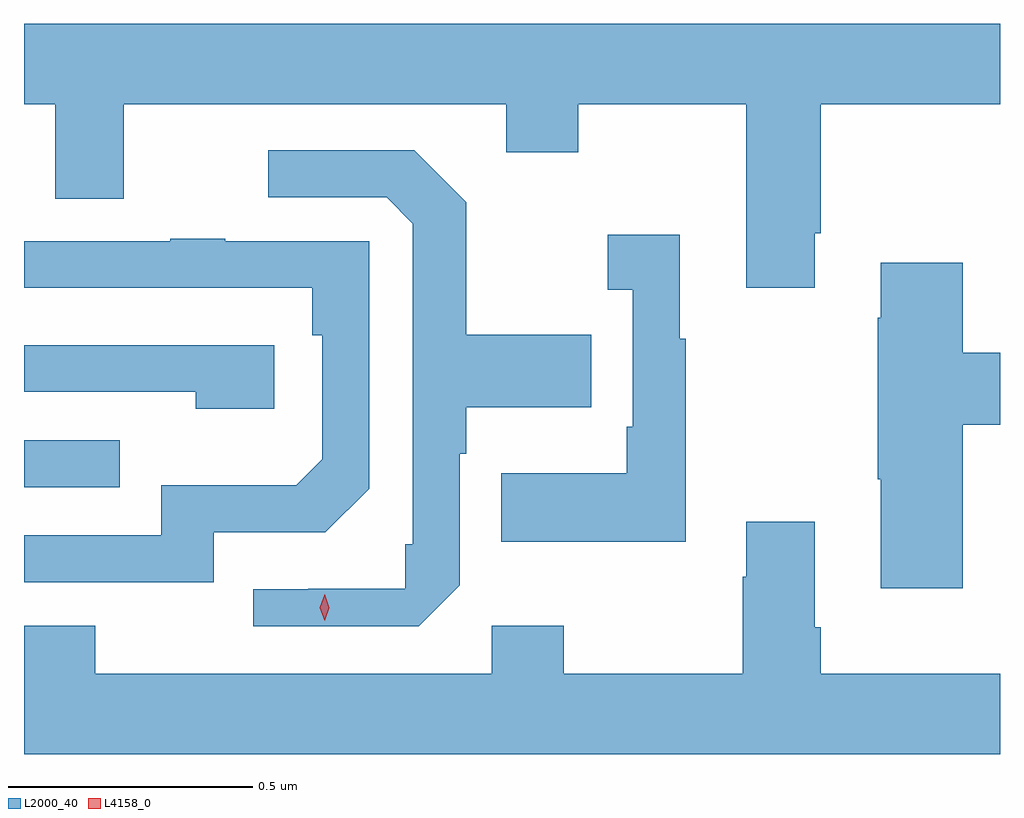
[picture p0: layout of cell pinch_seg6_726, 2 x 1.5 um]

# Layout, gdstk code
import gdstk
lib = gdstk.Library(unit=1e-6, precision=1e-09)
def R(c, l, rs):  # rectangles x0, y0, x1, y1
    for r in rs: c.add(gdstk.rectangle(r[:2], r[2:], *l))
def P(c, l, *ps):  # polygons
    for p in ps: c.add(gdstk.Polygon(p, *l))
L2000_40 = (2000, 40)
L4158_0 = (4158, 0)

pinch_seg6_726 = lib.new_cell('pinch_seg6_726')
R(pinch_seg6_726, L2000_40, [(502.345,939.891,502.541,939.987)])
P(pinch_seg6_726, L2000_40, [(503.965,940.411),(503.978,940.411),(503.978,940.676),(504.345,940.676),(504.345,940.84),(502.345,940.84),(502.345,940.676),(502.409,940.676),(502.409,940.482),(502.549,940.482),(502.549,940.676),(503.333,940.676),(503.333,940.577),(503.481,940.577),(503.481,940.676),(503.825,940.676),(503.825,940.299),(503.965,940.299)],
  [(503.238,939.69),(503.238,939.959),(503.251,939.959),(503.251,940.055),(503.507,940.055),(503.507,940.203),(503.251,940.203),(503.251,940.475),(503.145,940.581),(502.845,940.581),(502.845,940.485),(503.088,940.485),(503.142,940.431),(503.142,939.774),(503.126,939.774),(503.126,939.683),(502.927,939.683),(502.927,939.682),(502.815,939.682),(502.815,939.606),(503.154,939.606)],
  [(503.701,940.195),(503.689,940.195),(503.689,940.408),(503.541,940.408),(503.541,940.295),(503.592,940.295),(503.592,940.015),(503.58,940.015),(503.58,939.919),(503.323,939.919),(503.323,939.779),(503.701,939.779)],
  [(502.734,939.798),(502.962,939.798),(503.052,939.888),(503.052,940.395),(502.757,940.395),(502.757,940.4),(502.645,940.4),(502.645,940.395),(502.345,940.395),(502.345,940.299),(502.936,940.299),(502.936,940.202),(502.956,940.202),(502.956,939.948),(502.903,939.895),(502.626,939.895),(502.626,939.792),(502.345,939.792),(502.345,939.696),(502.734,939.696)],
  [(504.269,940.019),(504.345,940.019),(504.345,940.166),(504.269,940.166),(504.269,940.351),(504.101,940.351),(504.101,940.238),(504.094,940.238),(504.094,939.907),(504.101,939.907),(504.101,939.684),(504.269,939.684)],
  [(502.858,940.182),(502.345,940.182),(502.345,940.086),(502.697,940.086),(502.697,940.052),(502.858,940.052)],
  [(502.345,939.607),(502.345,939.344),(504.345,939.344),(504.345,939.508),(503.978,939.508),(503.978,939.604),(503.965,939.604),(503.965,939.82),(503.825,939.82),(503.825,939.707),(503.818,939.707),(503.818,939.508),(503.451,939.508),(503.451,939.607),(503.304,939.607),(503.304,939.508),(502.491,939.508),(502.491,939.607)])
P(pinch_seg6_726, L4158_0, [(502.961,939.617),(502.961,939.617),(502.951,939.644),(502.961,939.671),(502.961,939.671),(502.961,939.671),(502.971,939.644),(502.961,939.617)])

lib.write_gds('pinch_seg6_726.gds')
